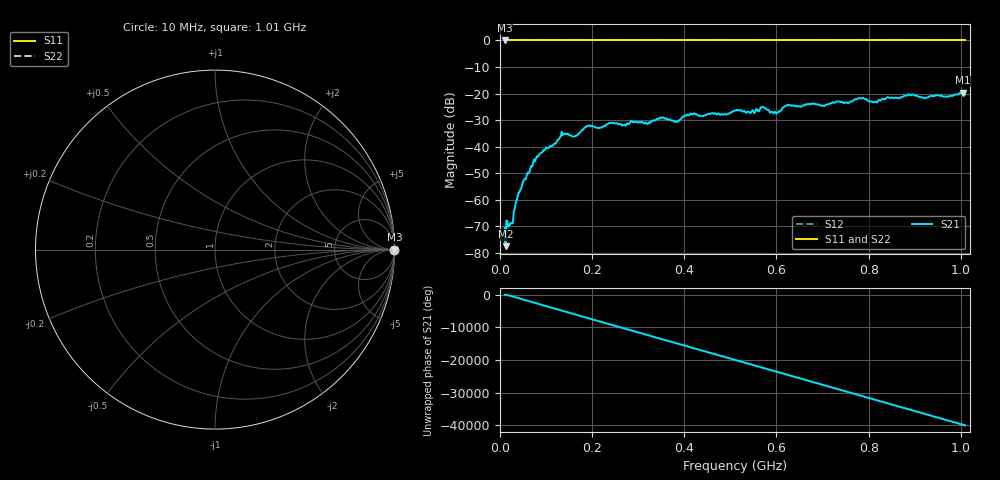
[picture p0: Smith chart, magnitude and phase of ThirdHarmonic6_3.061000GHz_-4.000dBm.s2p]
! 8/17/2025 8:55:07 AM
! C:\ANRITSUVNA\TEMP\TEMP.S2P
! CHANNEL.1
! TR.MEASUREMENT
! RAW.DATA
! RF.CORRECTION.OFF
! AVERAGING.OFF
! IF.BANDWIDTH: 5KHZ
! SWEEPTYPE:  FREQ.SWEEP(Linear)
! Reference Plane Port Info
! PORT:  PORT1  PORT2
! DISTANCE:  0  m  0  m
! TIME:  0  s  0  s
! PHASE.OFFSET:  0  deg.  0  deg.
! LOSS:  0  dB  0  dB
! REF.LOSS:  0  dB  0  dB
! REF.FREQ:  0  Hz  0  Hz
! Power Info
! POWER:  -20  dBm  -20  dBm
! EFF.POWER:  -20  dBm  -20  dBm
! SOURCE.ATTEN:  0  dB  0  dB
! TEST.ATTEN:  0  dB  0  dB
# GHZ S RI R 50.0
! FREQ.GHZ  S11RE  S11IM  S21RE  S21IM  S12RE  S12IM  S22RE  S22IM
!; PortSelection: Port_12
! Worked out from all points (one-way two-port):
!   501 points, 10 MHz to 1.01 GHz, reference 50 ohm
!   highest |S21| = -19.64 dB at 1.004 GHz (marker M1); lowest = -77.5 dB at 12 MHz (marker M2)
!   lowest |S11| = 0.0 dB at 10 MHz (marker M3)
!   |S11| at or under -10 dB: nowhere
!   |S22| runs from 0.0 to 0.0 dB; largest |S21 - S12| = 1.1
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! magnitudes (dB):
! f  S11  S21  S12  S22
! 10 MHz  0.0  -70.6  0.0  0.0
! 12 MHz  0.0  -77.5  0.0  0.0
! 24 MHz  0.0  -68.7  0.0  0.0
! 40 MHz  0.0  -57.4  0.0  0.0
! 76 MHz  0.0  -45.5  0.0  0.0
! 136 MHz  0.0  -35.6  0.0  0.0
! 162 MHz  0.0  -36.1  0.0  0.0
! 178 MHz  0.0  -33.7  0.0  0.0
! 192 MHz  0.0  -32.0  0.0  0.0
! 322 MHz  0.0  -31.2  0.0  0.0
! 344 MHz  0.0  -29.5  0.0  0.0
! 384 MHz  0.0  -30.5  0.0  0.0
! 410 MHz  0.0  -28.2  0.0  0.0
! 510 MHz  0.0  -26.4  0.0  0.0
! 570 MHz  0.0  -25.0  0.0  0.0
! 598 MHz  0.0  -27.1  0.0  0.0
! 624 MHz  0.0  -24.3  0.0  0.0
! 678 MHz  0.0  -23.8  0.0  0.0
! 814 MHz  0.0  -23.1  0.0  0.0
! 844 MHz  0.0  -21.5  0.0  0.0
! 1.004 GHz  0.0  -19.6  0.0  0.0
! 1.01 GHz  0.0  -20.3  0.0  0.0
